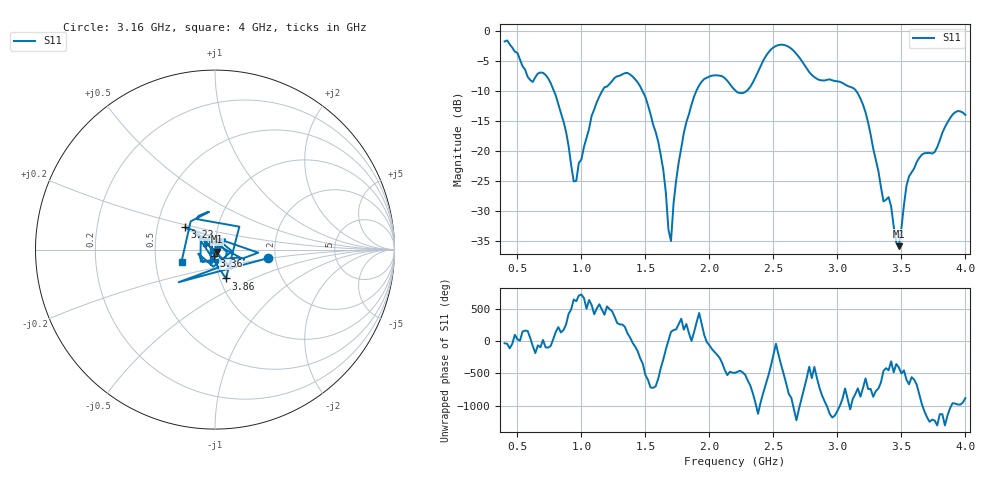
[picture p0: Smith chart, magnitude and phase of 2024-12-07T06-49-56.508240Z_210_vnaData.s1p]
!Created with skrf (http://scikit-rf.org).
# Hz S RI R 50.0
!freq ReS11 ImS11
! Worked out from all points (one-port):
!   181 points, 400 MHz to 4 GHz, reference 50 ohm
!   lowest |S11| = -35.9 dB at 3.48 GHz (marker M1), VSWR 1.03, Z = 51.1 - j1.19 ohm
!   |S11| at or under -10 dB: 784.3 MHz to 1.164 GHz (379.9 MHz wide, 39 % of centre); 1.476 GHz to 1.899 GHz (422.9 MHz wide, 25.1 % of centre); 3.145 GHz to end of sweep (the widest 3 of 4)
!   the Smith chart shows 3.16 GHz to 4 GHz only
!   S11 on the Smith chart (normalised r, x): 3.16 GHz: 1.83, -0.19; 3.22 GHz: 0.69, +0.18; 3.36 GHz: 0.98, -0.07; 3.86 GHz: 1.07, -0.35; 4 GHz: 0.68, -0.10
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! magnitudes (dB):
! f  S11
! 400 MHz  -1.8
! 600 MHz  -8.2
! 740 MHz  -7.9
! 860 MHz  -15.1
! 960 MHz  -25.0
! 1.12 GHz  -11.9
! 1.3 GHz  -7.5
! 1.4 GHz  -7.6
! 1.52 GHz  -12.4
! 1.64 GHz  -23.2
! 1.7 GHz  -35.0
! 1.76 GHz  -22.0
! 1.82 GHz  -15.2
! 1.94 GHz  -8.5
! 2.2 GHz  -9.9
! 2.3 GHz  -9.9
! 2.5 GHz  -2.8
! 2.66 GHz  -3.4
! 2.84 GHz  -8.0
! 3.1 GHz  -9.4
! 3.16 GHz  -10.5
! 3.22 GHz  -13.6
! 3.36 GHz  -28.4
! 3.4 GHz  -27.7
! 3.48 GHz  -35.9
! 3.56 GHz  -24.3
! 3.86 GHz  -15.3
! 4 GHz  -14.0
